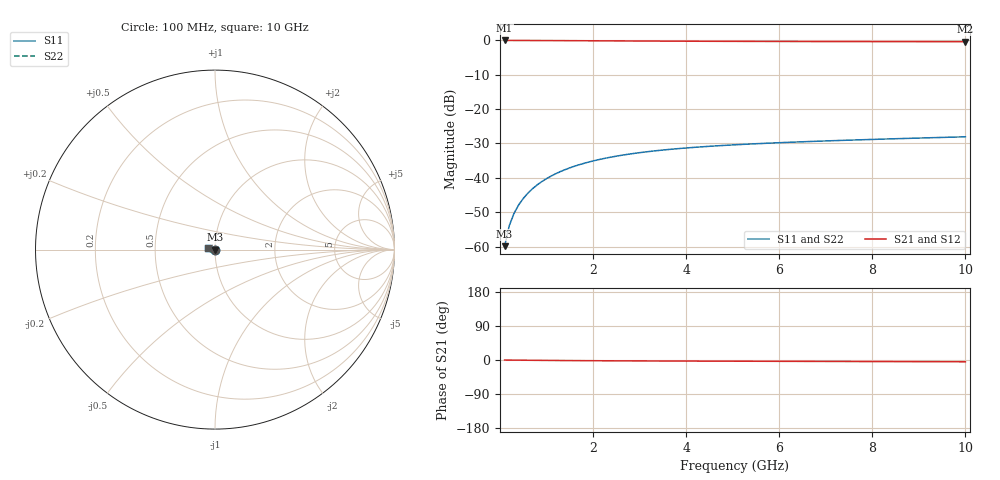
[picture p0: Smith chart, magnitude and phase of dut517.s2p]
! Touchstone file exported from HFSS 2024.1.0
!  File:  C:/UserFiles/LocalFiles/RDL_TSV_Batchsim/temp_TSV1_517_1779703096.aedt
!  Generated:  06:04:48 PM May 25, 2026
!  Design:  TSV1
!  Project:  temp_TSV1_517_1779703096
!  Setup:  Setup1
!  Solution:  Sweep
! Variables:
!  dtsv = 9.82um
!  hbump = 3um
!  htsv = 70.41um
!  lrdl = 252.1521522um
!  p = 40
!  p1 = 55.91um
!  t = 500um
!  trdl = 3um
!  wrdl = 24.89489489um
# GHz S MA R 50.000000
! Terminal data exported
! Port[1] = TSV22_T1
! Port[2] = TSV22_T2
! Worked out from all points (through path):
!   100 points, 100 MHz to 10 GHz, reference 50 ohm
!   highest |S21| = 0.00 dB at 100 MHz (marker M1); lowest = -0.4 dB at 10 GHz (marker M2)
!   lowest |S11| = -59.9 dB at 100 MHz (marker M3), VSWR 1.00, Z = 50 - j0.101 ohm
!   |S11| at or under -10 dB: start of sweep to end of sweep
!   |S22| runs from -59.9 to -28.1 dB; largest |S21 - S12| = 3.2e-15
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0.1  0.001012 -84.2  0.9998 -0.1  0.9998 -0.1  0.001012 -84.2
! Gamma 0 0 0 0
! Port Impedance 50 0 50 0
0.2  0.002012 -90.0  0.9997 -0.2  0.9997 -0.2  0.002012 -90.0
0.3  0.003015 -93.3  0.9995 -0.3  0.9995 -0.3  0.003015 -93.3
0.4  0.004013 -96.0  0.9992 -0.4  0.9992 -0.4  0.004013 -96.0
0.5  0.005002 -98.4  0.9989 -0.6  0.9989 -0.6  0.005002 -98.4
0.6  0.005981 -100.7  0.9985 -0.7  0.9985 -0.7  0.005981 -100.7
0.7  0.006945 -102.9  0.9981 -0.8  0.9981 -0.8  0.006945 -102.9
0.8  0.007893 -105.0  0.9976 -0.9  0.9976 -0.9  0.007893 -105.0
0.9  0.008824 -107.1  0.997 -1.0  0.997 -1.0  0.008824 -107.1
1.1  0.01063 -111.1  0.9958 -1.2  0.9958 -1.2  0.01063 -111.1
1.4  0.01317 -116.9  0.9936 -1.4  0.9936 -1.4  0.01317 -116.9
1.6  0.01474 -120.5  0.9921 -1.6  0.9921 -1.6  0.01474 -120.5
1.8  0.01623 -124.0  0.9905 -1.7  0.9905 -1.7  0.01623 -124.0
2.1  0.01827 -129.0  0.9881 -1.9  0.9881 -1.9  0.01827 -129.0
2.5  0.02068 -135.1  0.9849 -2.2  0.9849 -2.2  0.02068 -135.1
2.9  0.02277 -140.7  0.9819 -2.4  0.9819 -2.4  0.02277 -140.7
3.4  0.02499 -147.1  0.9785 -2.6  0.9785 -2.6  0.02499 -147.1
4.2  0.02786 -156.0  0.9739 -2.9  0.9739 -2.9  0.02786 -156.0
5.1  0.0304 -164.4  0.9699 -3.2  0.9699 -3.2  0.0304 -164.5
6.7  0.03388 -176.8  0.9649 -3.7  0.9649 -3.7  0.03388 -176.8
8.4  0.03693 172.8  0.9615 -4.2  0.9615 -4.2  0.03693 172.8
10  0.03957 164.6  0.9593 -4.7  0.9593 -4.7  0.03957 164.6
